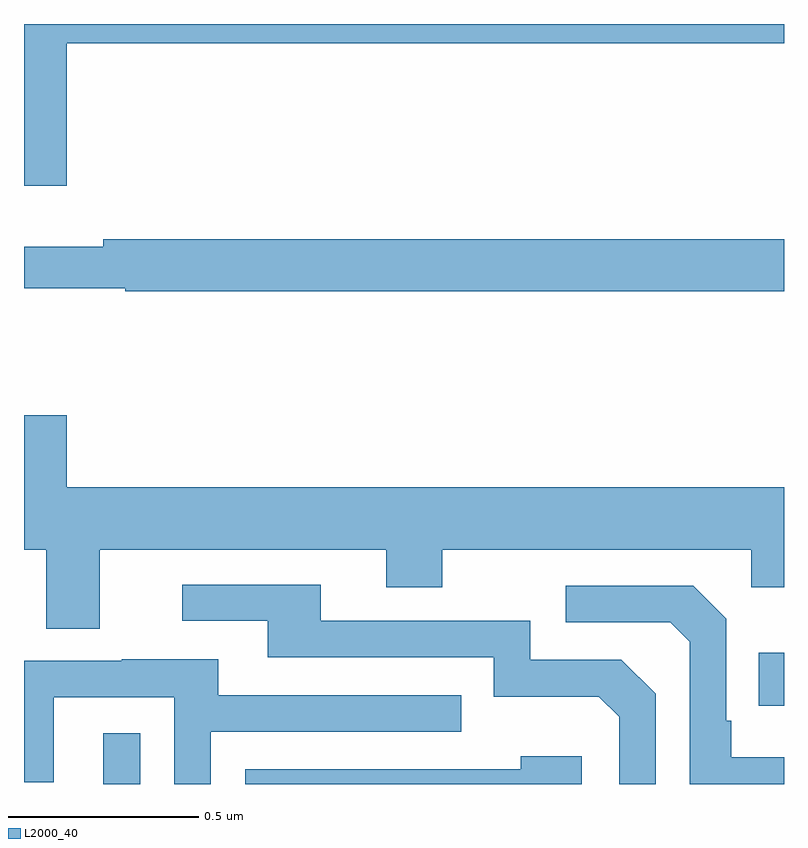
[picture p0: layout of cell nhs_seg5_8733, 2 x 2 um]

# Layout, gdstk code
import gdstk
lib = gdstk.Library(unit=1e-6, precision=1e-09)
def R(c, l, rs):  # rectangles x0, y0, x1, y1
    for r in rs: c.add(gdstk.rectangle(r[:2], r[2:], *l))
def P(c, l, *ps):  # polygons
    for p in ps: c.add(gdstk.Polygon(p, *l))
L2000_40 = (2000, 40)

nhs_seg5_8733 = lib.new_cell('nhs_seg5_8733')
R(nhs_seg5_8733, L2000_40, [(225.209,866.799,225.306,866.932), (226.933,867.005,227,867.145)])
P(nhs_seg5_8733, L2000_40, [(225.112,868.748),(227,868.748),(227,868.799),(225,868.799),(225,868.374),(225.112,868.374)],
  [(227,868.232),(225.208,868.232),(225.208,868.213),(225,868.213),(225,868.104),(225.266,868.104),(225.266,868.096),(227,868.096)],
  [(225.199,867.416),(225.953,867.416),(225.953,867.317),(226.101,867.317),(226.101,867.416),(226.914,867.416),(226.914,867.317),(227,867.317),(227,867.58),(225.112,867.58),(225.112,867.769),(225,867.769),(225,867.416),(225.059,867.416),(225.059,867.208),(225.199,867.208)],
  [(226.662,867.036),(226.572,867.126),(226.332,867.126),(226.332,867.228),(225.781,867.228),(225.781,867.324),(225.417,867.324),(225.417,867.228),(225.641,867.228),(225.641,867.132),(226.236,867.132),(226.236,867.029),(226.513,867.029),(226.566,866.976),(226.566,866.799),(226.662,866.799)],
  [(227,866.869),(226.861,866.869),(226.861,866.965),(226.848,866.965),(226.848,867.234),(226.761,867.321),(226.425,867.321),(226.425,867.225),(226.701,867.225),(226.752,867.174),(226.752,866.799),(227,866.799)],
  [(225.492,866.937),(226.151,866.937),(226.151,867.033),(225.511,867.033),(225.511,867.127),(225.257,867.127),(225.257,867.123),(225,867.123),(225,866.803),(225.078,866.803),(225.078,867.027),(225.396,867.027),(225.396,866.799),(225.492,866.799)],
  [(226.468,866.872),(226.307,866.872),(226.307,866.838),(225.582,866.838),(225.582,866.799),(226.468,866.799)])

lib.write_gds('nhs_seg5_8733.gds')
